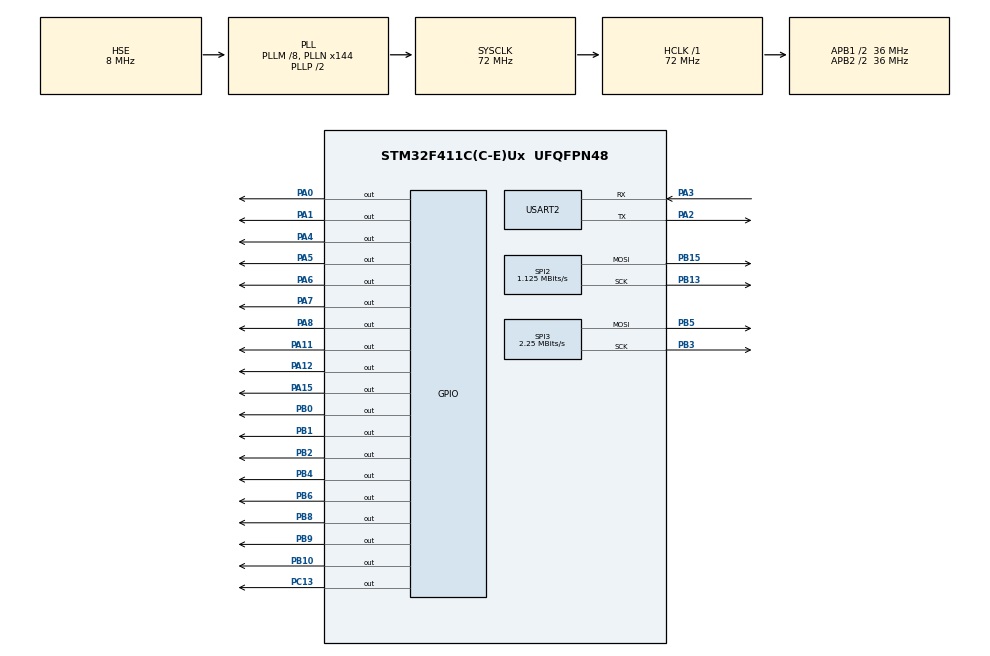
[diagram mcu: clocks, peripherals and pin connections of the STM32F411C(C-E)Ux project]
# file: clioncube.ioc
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Dma.MEMTOMEM.2.Direction=DMA_MEMORY_TO_MEMORY
Dma.MEMTOMEM.2.FIFOMode=DMA_FIFOMODE_ENABLE
Dma.MEMTOMEM.2.FIFOThreshold=DMA_FIFO_THRESHOLD_FULL
Dma.MEMTOMEM.2.Instance=DMA2_Stream0
Dma.MEMTOMEM.2.MemBurst=DMA_MBURST_SINGLE
Dma.MEMTOMEM.2.MemDataAlignment=DMA_MDATAALIGN_BYTE
Dma.MEMTOMEM.2.MemInc=DMA_MINC_ENABLE
Dma.MEMTOMEM.2.Mode=DMA_NORMAL
Dma.MEMTOMEM.2.PeriphBurst=DMA_PBURST_SINGLE
Dma.MEMTOMEM.2.PeriphDataAlignment=DMA_PDATAALIGN_BYTE
Dma.MEMTOMEM.2.PeriphInc=DMA_PINC_ENABLE
Dma.MEMTOMEM.2.Priority=DMA_PRIORITY_LOW
Dma.Request0=USART2_RX
Dma.Request1=USART2_TX
Dma.Request2=MEMTOMEM
Dma.USART2_RX.0.Direction=DMA_PERIPH_TO_MEMORY
Dma.USART2_RX.0.FIFOMode=DMA_FIFOMODE_DISABLE
Dma.USART2_RX.0.Instance=DMA1_Stream5
Dma.USART2_RX.0.MemDataAlignment=DMA_MDATAALIGN_BYTE
Dma.USART2_RX.0.MemInc=DMA_MINC_ENABLE
Dma.USART2_RX.0.Mode=DMA_NORMAL
Dma.USART2_RX.0.PeriphDataAlignment=DMA_PDATAALIGN_BYTE
Dma.USART2_RX.0.PeriphInc=DMA_PINC_DISABLE
Dma.USART2_RX.0.Priority=DMA_PRIORITY_MEDIUM
Dma.USART2_TX.1.Direction=DMA_MEMORY_TO_PERIPH
Dma.USART2_TX.1.FIFOMode=DMA_FIFOMODE_ENABLE
Dma.USART2_TX.1.FIFOThreshold=DMA_FIFO_THRESHOLD_FULL
Dma.USART2_TX.1.Instance=DMA1_Stream6
Dma.USART2_TX.1.MemBurst=DMA_MBURST_SINGLE
Dma.USART2_TX.1.MemDataAlignment=DMA_MDATAALIGN_BYTE
Dma.USART2_TX.1.MemInc=DMA_MINC_ENABLE
Dma.USART2_TX.1.Mode=DMA_NORMAL
Dma.USART2_TX.1.PeriphBurst=DMA_PBURST_SINGLE
Dma.USART2_TX.1.PeriphDataAlignment=DMA_PDATAALIGN_BYTE
Dma.USART2_TX.1.PeriphInc=DMA_PINC_DISABLE
Dma.USART2_TX.1.Priority=DMA_PRIORITY_MEDIUM
Mcu.Family=STM32F4
Mcu.Name=STM32F411C(C-E)Ux
Mcu.Package=UFQFPN48
NVIC.DMA1_Stream5_IRQn=true\:0\:0\:false\:false\:true\:false\:true\:true
NVIC.DMA1_Stream6_IRQn=true\:0\:0\:false\:false\:true\:false\:true\:true
NVIC.PriorityGroup=NVIC_PRIORITYGROUP_4
NVIC.SPI2_IRQn=true\:0\:0\:false\:false\:true\:true\:true\:true
NVIC.TIM2_IRQn=true\:0\:0\:false\:true\:true\:1\:true\:true\:true
NVIC.TIM3_IRQn=true\:0\:0\:false\:false\:true\:true\:true\:true
NVIC.USART2_IRQn=true\:0\:0\:false\:false\:true\:true\:true\:true
PA0-WKUP.Signal=GPIO_Output
PA1.Signal=GPIO_Output
PA11.Signal=GPIO_Output
PA12.Signal=GPIO_Output
PA13.Mode=Serial_Wire
PA13.Signal=SYS_JTMS-SWDIO
PA14.Mode=Serial_Wire
PA14.Signal=SYS_JTCK-SWCLK
PA15.Signal=GPIO_Output
PA2.GPIO_PuPd=GPIO_NOPULL
PA2.Mode=Asynchronous
PA2.Signal=USART2_TX
PA3.GPIO_PuPd=GPIO_NOPULL
PA3.Mode=Asynchronous
PA3.Signal=USART2_RX
PA4.PinState=GPIO_PIN_SET
PA4.Signal=GPIO_Output
PA5.PinState=GPIO_PIN_SET
PA5.Signal=GPIO_Output
PA6.PinState=GPIO_PIN_SET
PA6.Signal=GPIO_Output
PA7.PinState=GPIO_PIN_SET
PA7.Signal=GPIO_Output
PA8.Signal=GPIO_Output
PB0.PinState=GPIO_PIN_SET
PB0.Signal=GPIO_Output
PB1.PinState=GPIO_PIN_SET
PB1.Signal=GPIO_Output
PB10.PinState=GPIO_PIN_SET
PB10.Signal=GPIO_Output
PB13.Mode=TX_Only_Simplex_Unidirect_Master
PB13.Signal=SPI2_SCK
PB15.GPIO_PuPd=GPIO_NOPULL
PB15.Mode=TX_Only_Simplex_Unidirect_Master
PB15.Signal=SPI2_MOSI
PB2.PinState=GPIO_PIN_SET
PB2.Signal=GPIO_Output
PB3.Mode=TX_Only_Simplex_Unidirect_Master
PB3.Signal=SPI3_SCK
PB4.PinState=GPIO_PIN_SET
PB4.Signal=GPIO_Output
PB5.Mode=TX_Only_Simplex_Unidirect_Master
PB5.Signal=SPI3_MOSI
PB6.GPIO_PuPd=GPIO_PULLDOWN
PB6.Signal=GPIO_Output
PB8.Signal=GPIO_Output
PB9.Signal=GPIO_Output
PC13-ANTI_TAMP.GPIO_PuPd=GPIO_NOPULL
PC13-ANTI_TAMP.PinState=GPIO_PIN_RESET
PC13-ANTI_TAMP.Signal=GPIO_Output
PH0\ -\ OSC_IN.Mode=HSE-External-Oscillator
PH0\ -\ OSC_IN.Signal=RCC_OSC_IN
PH1\ -\ OSC_OUT.Mode=HSE-External-Oscillator
PH1\ -\ OSC_OUT.Signal=RCC_OSC_OUT
ProjectManager.HeapSize=0x200
ProjectManager.StackSize=0x400
ProjectManager.TargetToolchain=STM32CubeIDE
RCC.48MHZClocksFreq_Value=36000000
RCC.AHBFreq_Value=72000000
RCC.APB1CLKDivider=RCC_HCLK_DIV2
RCC.APB1Freq_Value=36000000
RCC.APB1TimFreq_Value=72000000
RCC.APB2CLKDivider=RCC_HCLK_DIV2
RCC.APB2Freq_Value=36000000
RCC.APB2TimFreq_Value=72000000
RCC.CortexFreq_Value=72000000
RCC.HCLKFreq_Value=72000000
RCC.HSE_VALUE=8000000
RCC.HSI_VALUE=16000000
RCC.LSE_VALUE=32768
RCC.PLLM=8
RCC.PLLN=144
RCC.PLLSourceVirtual=RCC_PLLSOURCE_HSE
RCC.SYSCLKFreq_VALUE=72000000
RCC.SYSCLKSource=RCC_SYSCLKSOURCE_PLLCLK
RCC.VCOOutputFreq_Value=144000000
SPI2.BaudRatePrescaler=SPI_BAUDRATEPRESCALER_32
SPI2.CalculateBaudRate=1.125 MBits/s
SPI2.Direction=SPI_DIRECTION_2LINES
SPI2.Mode=SPI_MODE_MASTER
SPI2.VirtualType=VM_MASTER
SPI3.BaudRatePrescaler=SPI_BAUDRATEPRESCALER_16
SPI3.CLKPolarity=SPI_POLARITY_HIGH
SPI3.CalculateBaudRate=2.25 MBits/s
SPI3.DataSize=SPI_DATASIZE_16BIT
SPI3.Direction=SPI_DIRECTION_2LINES
SPI3.Mode=SPI_MODE_MASTER
SPI3.VirtualType=VM_MASTER
TIM2.AutoReloadPreload=TIM_AUTORELOAD_PRELOAD_ENABLE
TIM2.Period=5000
TIM2.Prescaler=71
TIM3.Period=5000
TIM3.Prescaler=71
USART2.VirtualMode=VM_ASYNC
VP_TIM2_VS_ClockSourceINT.Mode=Internal
VP_TIM3_VS_ClockSourceINT.Mode=Internal
board=custom

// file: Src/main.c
/* USER CODE BEGIN Header */
/**
  ******************************************************************************
  * @file           : main.c
  * @brief          : Main program body
  ******************************************************************************
  * @attention
  *
  * Copyright (c) 2023 STMicroelectronics.
  * All rights reserved.
  *
  * This software is licensed under terms that can be found in the LICENSE file
  * in the root directory of this software component.
  * If no LICENSE file comes with this software, it is provided AS-IS.
  *
  ******************************************************************************
  */
/* USER CODE END Header */
#include "main.h"
#include "dma.h"
#include "spi.h"
#include "tim.h"
#include "usart.h"
#include "gpio.h"

void SystemClock_Config(void);
static void MX_NVIC_Init(void);
/* USER CODE BEGIN PFP */
void SWITCH_CTRL(uint8_t const* data);
/* USER CODE END PFP */

/* USER CODE BEGIN 0 */
volatile uint8_t rx_len=0;                     //接收数据长度
volatile uint8_t recv_end_flag=0;        //接收完成标记�???
uint8_t RxBuffer[100];      //接收缓存
char  BUFFER_SIZE=100;      //
uint8_t SPIBuffer[2] = {0,0};

#define NUM_OF_NSS_PINS 4

GPIO_TypeDef* NSS_PORT[NUM_OF_NSS_PINS] = {GPIOB, GPIOB, GPIOA,GPIOA};
const uint16_t NSS_PIN[NUM_OF_NSS_PINS] = {GPIO_PIN_10, GPIO_PIN_1, GPIO_PIN_7,GPIO_PIN_5};

void SPI_NSS_Pin_Control(uint8_t PinNumber, uint8_t PinState){
    HAL_GPIO_WritePin(NSS_PORT[PinNumber], NSS_PIN[PinNumber], (GPIO_PinState)PinState);
}
/* USER CODE END 0 */

int main(void)
{

  /* MCU Configuration--------------------------------------------------------*/

  /* Reset of all peripherals, Initializes the Flash interface and the Systick. */
  HAL_Init();

  /* Configure the system clock */
  SystemClock_Config();

  /* Initialize all configured peripherals */
  MX_GPIO_Init();
  MX_DMA_Init();
  MX_USART2_UART_Init();
  MX_SPI2_Init();
  MX_TIM2_Init();
  MX_TIM3_Init();
  MX_SPI3_Init();

  /* Initialize interrupts */
  MX_NVIC_Init();
  /* USER CODE BEGIN 2 */
    HAL_TIM_Base_Start_IT(&htim2);
    HAL_TIM_Base_Start_IT(&htim3);
    __HAL_UART_ENABLE_IT(&huart2, UART_IT_IDLE);
    HAL_UART_Receive_DMA(&huart2, RxBuffer, BUFFER_SIZE);   //
  /* USER CODE END 2 */

  /* Infinite loop */
  /* USER CODE BEGIN WHILE */

  while (1){
      if(recv_end_flag){
          HAL_UART_Transmit_DMA(&huart2,RxBuffer,rx_len);

          SWITCH_CTRL(RxBuffer);
          SPI_NSS_Pin_Control((RxBuffer[2]-1)/2,0);
          HAL_SPI_Transmit(&hspi2,RxBuffer+1,1,20);
          while( hspi2.State == HAL_SPI_STATE_BUSY_TX){};  // wait
          SPI_NSS_Pin_Control((RxBuffer[2]-1)/2,1);
          SPIBuffer[0] = RxBuffer[4];
          SPIBuffer[1]= RxBuffer[3];
          HAL_GPIO_WritePin(GPIOB,GPIO_PIN_4,GPIO_PIN_RESET);
          HAL_SPI_Transmit(&hspi3,SPIBuffer,1,20);
          while(hspi3.State == HAL_SPI_STATE_BUSY_TX){};  // wait
          HAL_GPIO_WritePin(GPIOB,GPIO_PIN_4,GPIO_PIN_SET);

          for(uint8_t i=0;i<rx_len;i++){   //clear
              RxBuffer[i]=0;
          }
          rx_len=0;
          recv_end_flag=0;
      }
      HAL_UART_Receive_DMA(&huart2,RxBuffer,BUFFER_SIZE);
    /* USER CODE END WHILE */

  }
}

void SystemClock_Config(void)
{
  RCC_OscInitTypeDef RCC_OscInitStruct = {0};
  RCC_ClkInitTypeDef RCC_ClkInitStruct = {0};

  /** Configure the main internal regulator output voltage
  */
  __HAL_RCC_PWR_CLK_ENABLE();
  __HAL_PWR_VOLTAGESCALING_CONFIG(PWR_REGULATOR_VOLTAGE_SCALE1);

  /** Initializes the RCC Oscillators according to the specified parameters
  * in the RCC_OscInitTypeDef structure.
  */
  RCC_OscInitStruct.OscillatorType = RCC_OSCILLATORTYPE_HSE;
  RCC_OscInitStruct.HSEState = RCC_HSE_ON;
  RCC_OscInitStruct.PLL.PLLState = RCC_PLL_ON;
  RCC_OscInitStruct.PLL.PLLSource = RCC_PLLSOURCE_HSE;
  RCC_OscInitStruct.PLL.PLLM = 8;
  RCC_OscInitStruct.PLL.PLLN = 144;
  RCC_OscInitStruct.PLL.PLLP = RCC_PLLP_DIV2;
  RCC_OscInitStruct.PLL.PLLQ = 4;
  if (HAL_RCC_OscConfig(&RCC_OscInitStruct) != HAL_OK)
  {
    Error_Handler();
  }

  /** Initializes the CPU, AHB and APB buses clocks
  */
  RCC_ClkInitStruct.ClockType = RCC_CLOCKTYPE_HCLK|RCC_CLOCKTYPE_SYSCLK
                              |RCC_CLOCKTYPE_PCLK1|RCC_CLOCKTYPE_PCLK2;
  RCC_ClkInitStruct.SYSCLKSource = RCC_SYSCLKSOURCE_PLLCLK;
  RCC_ClkInitStruct.AHBCLKDivider = RCC_SYSCLK_DIV1;
  RCC_ClkInitStruct.APB1CLKDivider = RCC_HCLK_DIV2;
  RCC_ClkInitStruct.APB2CLKDivider = RCC_HCLK_DIV2;

  if (HAL_RCC_ClockConfig(&RCC_ClkInitStruct, FLASH_LATENCY_2) != HAL_OK)
  {
    Error_Handler();
  }
}

/**
  * @brief NVIC Configuration.
  * @retval None
  */
static void MX_NVIC_Init(void)
{
  /* TIM2_IRQn interrupt configuration */
  HAL_NVIC_SetPriority(TIM2_IRQn, 0, 0);
  HAL_NVIC_EnableIRQ(TIM2_IRQn);
}

/* USER CODE BEGIN 4 */
void HAL_TIM_PeriodElapsedCallback(TIM_HandleTypeDef *htim)
{
    static uint32_t time_cnt =0;
    static uint32_t time_cnt3 =0;
    if(htim->Instance == TIM2)    // 0.005s
    {
        if(++time_cnt >= 200)
        {
            time_cnt =0;
            HAL_GPIO_TogglePin(GPIOC,GPIO_PIN_13);
        }
    }
    if(htim->Instance == TIM3)
    {
        if(++time_cnt3 >= 1000)
        {
            time_cnt3 =0;
        }
    }
}

void SWITCH_CTRL(uint8_t const*data){
    if(data[0]==1){
        HAL_GPIO_WritePin( GPIOA, GPIO_PIN_1, GPIO_PIN_RESET );   // low
        HAL_GPIO_WritePin( GPIOA, GPIO_PIN_0, GPIO_PIN_SET );     // high
        HAL_GPIO_WritePin( GPIOA, GPIO_PIN_15, GPIO_PIN_RESET );  // low
        HAL_GPIO_WritePin( GPIOA, GPIO_PIN_12, GPIO_PIN_SET );    // high
        HAL_GPIO_WritePin( GPIOB, GPIO_PIN_8, GPIO_PIN_RESET );   // low
        HAL_GPIO_WritePin( GPIOB, GPIO_PIN_9, GPIO_PIN_RESET );   // low
        HAL_GPIO_WritePin( GPIOA, GPIO_PIN_8, GPIO_PIN_RESET );   // low
        HAL_GPIO_WritePin( GPIOA, GPIO_PIN_11, GPIO_PIN_RESET );  // low
    }else if(data[0]==2){
        HAL_GPIO_WritePin( GPIOA, GPIO_PIN_1, GPIO_PIN_RESET );  // low
        HAL_GPIO_WritePin( GPIOA, GPIO_PIN_0, GPIO_PIN_RESET );  // low
        HAL_GPIO_WritePin( GPIOA, GPIO_PIN_15, GPIO_PIN_RESET ); // low
        HAL_GPIO_WritePin( GPIOA, GPIO_PIN_12, GPIO_PIN_RESET ); // low
        HAL_GPIO_WritePin( GPIOB, GPIO_PIN_8, GPIO_PIN_RESET );  // low
        HAL_GPIO_WritePin( GPIOB, GPIO_PIN_9, GPIO_PIN_SET );    // high
        HAL_GPIO_WritePin( GPIOA, GPIO_PIN_8, GPIO_PIN_RESET );  // low
        HAL_GPIO_WritePin( GPIOA, GPIO_PIN_11, GPIO_PIN_SET );   // high
    }else if(data[0]==3){
        HAL_GPIO_WritePin( GPIOA, GPIO_PIN_1, GPIO_PIN_SET );    // high
        HAL_GPIO_WritePin( GPIOA, GPIO_PIN_0, GPIO_PIN_RESET );  // low
        HAL_GPIO_WritePin( GPIOA, GPIO_PIN_15, GPIO_PIN_SET );   // high
        HAL_GPIO_WritePin( GPIOA, GPIO_PIN_12, GPIO_PIN_RESET ); // low
        HAL_GPIO_WritePin( GPIOB, GPIO_PIN_8, GPIO_PIN_SET );    // high
        HAL_GPIO_WritePin( GPIOB, GPIO_PIN_9, GPIO_PIN_RESET );  // low
        HAL_GPIO_WritePin( GPIOA, GPIO_PIN_8, GPIO_PIN_SET );    // low
        HAL_GPIO_WritePin( GPIOA, GPIO_PIN_11, GPIO_PIN_RESET ); // high
    }else{
        HAL_GPIO_WritePin( GPIOA, GPIO_PIN_1, GPIO_PIN_RESET );  // low
        HAL_GPIO_WritePin( GPIOA, GPIO_PIN_0, GPIO_PIN_RESET );  // low
        HAL_GPIO_WritePin( GPIOA, GPIO_PIN_15, GPIO_PIN_RESET ); // low
        HAL_GPIO_WritePin( GPIOA, GPIO_PIN_12, GPIO_PIN_RESET ); // low
        HAL_GPIO_WritePin( GPIOB, GPIO_PIN_8, GPIO_PIN_RESET );  // low
        HAL_GPIO_WritePin( GPIOB, GPIO_PIN_9, GPIO_PIN_RESET );  // low
        HAL_GPIO_WritePin( GPIOA, GPIO_PIN_8, GPIO_PIN_RESET );  // low
        HAL_GPIO_WritePin( GPIOA, GPIO_PIN_11, GPIO_PIN_RESET ); // low
    }
}

void HAL_UART_RxCpltCallback(UART_HandleTypeDef *huart){
    if(huart==&huart2){
    }
}

void HAL_UART_TxCpltCallback(UART_HandleTypeDef *huart){
    if(huart == &huart2){
    }
}
/* USER CODE END 4 */

void Error_Handler(void)
{
  /* USER CODE BEGIN Error_Handler_Debug */
  /* User can add his own implementation to report the HAL error return state */
//  __disable_irq();
//  while (1)
//  {
//  }
  /* USER CODE END Error_Handler_Debug */
}
